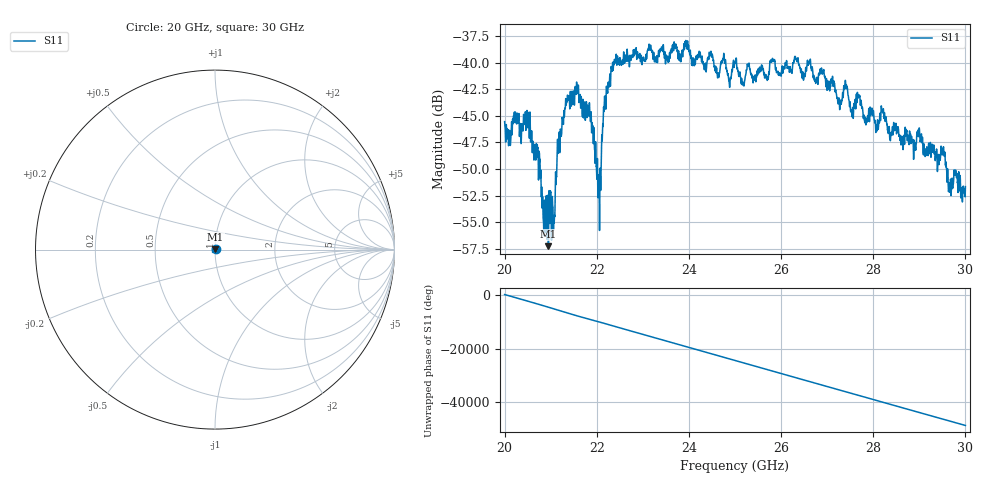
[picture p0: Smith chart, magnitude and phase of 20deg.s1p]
#  HZ  S  RI  R  50.00
! Rohde & Schwarz ZVA40 4Ports - Version 3.90 - 1145.1110k42 SN: 100403
! Date: 2023-10-03 12:46:11
! Measurement: S12
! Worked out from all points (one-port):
!   5001 points, 20 GHz to 30 GHz, reference 50 ohm
!   lowest |S11| = -57.3 dB at 20.95 GHz (marker M1), VSWR 1.00, Z = 50.1 + j0.0775 ohm
!   |S11| at or under -10 dB: start of sweep to end of sweep
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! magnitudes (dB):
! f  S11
! 20 GHz  -45.5
! 20.51 GHz  -44.7
! 20.74 GHz  -51.0
! 20.84 GHz  -54.9
! 20.95 GHz  -57.3
! 21.06 GHz  -55.8
! 21.15 GHz  -47.2
! 21.25 GHz  -45.2
! 21.57 GHz  -42.9
! 21.87 GHz  -45.4
! 22.05 GHz  -51.7
! 22.2 GHz  -44.4
! 22.5 GHz  -39.7
! 23.75 GHz  -38.9
! 24.62 GHz  -41.3
! 24.75 GHz  -39.4
! 24.88 GHz  -42.0
! 25 GHz  -40.0
! 25.17 GHz  -41.8
! 26.25 GHz  -40.4
! 26.89 GHz  -40.8
! 27.27 GHz  -44.3
! 27.4 GHz  -42.1
! 27.5 GHz  -43.8
! 28.75 GHz  -46.8
! 29.51 GHz  -48.4
! 29.65 GHz  -51.3
! 30 GHz  -51.7
